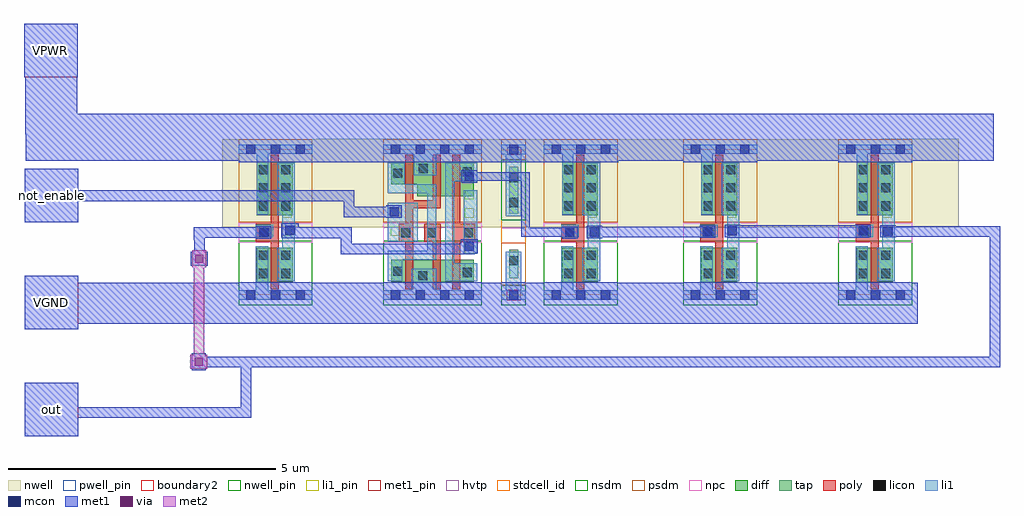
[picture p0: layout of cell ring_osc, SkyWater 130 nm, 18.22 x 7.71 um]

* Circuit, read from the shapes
.subckt ring_osc VGND VPWR not_enable out
XM1 sky130_fd_sc_hd__einvn_0_4/A out VGND VGND sky130_fd_pr__nfet_01v8 w=0.65 l=0.15
XM2 VGND not_enable n1 VGND sky130_fd_pr__nfet_01v8 w=0.42 l=0.15
XM3 n2 n1 VGND VGND sky130_fd_pr__nfet_01v8 w=0.42 l=0.15
XM4 sky130_fd_sc_hd__inv_1_3/A sky130_fd_sc_hd__einvn_0_4/A n2 VGND sky130_fd_pr__nfet_01v8 w=0.42 l=0.15
XM5 sky130_fd_sc_hd__inv_1_2/A sky130_fd_sc_hd__inv_1_3/A VGND VGND sky130_fd_pr__nfet_01v8 w=0.65 l=0.15
XM6 sky130_fd_sc_hd__inv_1_1/A sky130_fd_sc_hd__inv_1_2/A VGND VGND sky130_fd_pr__nfet_01v8 w=0.65 l=0.15
XM7 out sky130_fd_sc_hd__inv_1_1/A VGND VGND sky130_fd_pr__nfet_01v8 w=0.65 l=0.15
XM8 sky130_fd_sc_hd__einvn_0_4/A out VPWR VPWR sky130_fd_pr__pfet_01v8_hvt w=1 l=0.15
XM9 VPWR not_enable n1 VPWR sky130_fd_pr__pfet_01v8_hvt w=0.42 l=0.15
XM10 n3 not_enable VPWR VPWR sky130_fd_pr__pfet_01v8_hvt w=0.64 l=0.15
XM11 sky130_fd_sc_hd__inv_1_3/A sky130_fd_sc_hd__einvn_0_4/A n3 VPWR sky130_fd_pr__pfet_01v8_hvt w=0.64 l=0.15
XM12 sky130_fd_sc_hd__inv_1_2/A sky130_fd_sc_hd__inv_1_3/A VPWR VPWR sky130_fd_pr__pfet_01v8_hvt w=1 l=0.15
XM13 sky130_fd_sc_hd__inv_1_1/A sky130_fd_sc_hd__inv_1_2/A VPWR VPWR sky130_fd_pr__pfet_01v8_hvt w=1 l=0.15
XM14 out sky130_fd_sc_hd__inv_1_1/A VPWR VPWR sky130_fd_pr__pfet_01v8_hvt w=1 l=0.15
.ends

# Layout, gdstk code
import gdstk
lib = gdstk.Library(unit=1e-6, precision=1e-09)
def R(c, l, rs):  # rectangles x0, y0, x1, y1
    for r in rs: c.add(gdstk.rectangle(r[:2], r[2:], *l))
def A(c, l, x, y, w, h, nx, ny, dx, dy):  # array of equal rectangles
    R(c, l, [(x+i*dx, y+j*dy, x+i*dx+w, y+j*dy+h) for i in range(nx) for j in range(ny)])
def P(c, l, *ps):  # polygons
    for p in ps: c.add(gdstk.Polygon(p, *l))
nwell_pin = (64, 16)
nwell = (64, 20)
diff = (65, 20)
tap = (65, 44)
poly = (66, 20)
licon = (66, 44)
li1_pin = (67, 16)
li1 = (67, 20)
mcon = (67, 44)
met1_pin = (68, 16)
met1 = (68, 20)
via = (68, 44)
met2 = (69, 20)
hvtp = (78, 44)
stdcell_id = (81, 4)
nsdm = (93, 44)
psdm = (94, 20)
npc = (95, 20)
pwell_pin = (122, 16)
boundary2 = (236, 0)

sky130_fd_sc_hd__tapvpwr = lib.new_cell('sky130_fd_sc_hd__tapvpwrvgnd_1')
R(sky130_fd_sc_hd__tapvpwr, nwell, [(-0.19,1.305,0.65,2.91)])
R(sky130_fd_sc_hd__tapvpwr, tap, [(0.145,0.32,0.315,0.845), (0.145,1.525,0.315,2.4)])
R(sky130_fd_sc_hd__tapvpwr, licon, [(0.145,0.555,0.315,0.725), (0.145,1.645,0.315,1.815), (0.145,2.11,0.315,2.28)])
R(sky130_fd_sc_hd__tapvpwr, li1, [(0,-0.085,0.46,0.085), (0.085,0,0.375,0.81), (0.085,1.47,0.375,2.72), (0,2.635,0.46,2.805)])
R(sky130_fd_sc_hd__tapvpwr, mcon, [(0.145,-0.085,0.315,0.085), (0.145,2.635,0.315,2.805)])
R(sky130_fd_sc_hd__tapvpwr, met1_pin, [(0.105,-0.09,0.36,0.1), (0.11,2.62,0.375,2.765)])
R(sky130_fd_sc_hd__tapvpwr, met1, [(0,-0.24,0.46,0.24), (0,2.48,0.46,2.96)])
R(sky130_fd_sc_hd__tapvpwr, hvtp, [(0,1.25,0.46,2.72)])
R(sky130_fd_sc_hd__tapvpwr, stdcell_id, [(0,0,0.46,2.72)])
R(sky130_fd_sc_hd__tapvpwr, nsdm, [(0,-0.19,0.46,0.19), (0,1.395,0.46,2.53)])
R(sky130_fd_sc_hd__tapvpwr, psdm, [(0,0.19,0.46,0.975), (0,2.53,0.46,2.91)])
sky130_fd_sc_hd__tapvpwr.add(gdstk.Label('VPWR', (0.23,2.72), layer=68, texttype=5))
sky130_fd_sc_hd__tapvpwr.add(gdstk.Label('VGND', (0.23,0), layer=68, texttype=5))
sky130_fd_sc_hd__tapvpwr.add(gdstk.Label('tapvpwrvgnd_1', (0,0), layer=83, texttype=44))

sky130_fd_sc_hd__inv_1 = lib.new_cell('sky130_fd_sc_hd__inv_1')
R(sky130_fd_sc_hd__inv_1, nwell_pin, [(0.145,2.635,0.315,2.805), (0.145,2.635,0.315,2.805)])
R(sky130_fd_sc_hd__inv_1, nwell, [(-0.19,1.305,1.57,2.91)])
R(sky130_fd_sc_hd__inv_1, diff, [(0.34,0.235,1.01,0.885), (0.34,1.485,1.01,2.485)])
P(sky130_fd_sc_hd__inv_1, poly, [(0.75,2.615),(0.6,2.615),(0.6,1.325),(0.32,1.325),(0.32,0.995),(0.6,0.995),(0.6,0.105),(0.75,0.105)])
A(sky130_fd_sc_hd__inv_1, licon, 0.38, 1.575, 0.17, 0.17, 1, 3, 0, 0.34)
A(sky130_fd_sc_hd__inv_1, licon, 0.8, 1.575, 0.17, 0.17, 1, 3, 0, 0.34)
R(sky130_fd_sc_hd__inv_1, licon, [(0.38,0.315,0.55,0.485), (0.8,0.315,0.97,0.485), (0.38,0.655,0.55,0.825), (0.8,0.655,0.97,0.825), (0.4,1.075,0.57,1.245)])
R(sky130_fd_sc_hd__inv_1, li1_pin, [(0.36,1.105,0.53,1.275), (0.82,1.105,0.99,1.275), (0.82,1.445,0.99,1.615)])
R(sky130_fd_sc_hd__inv_1, li1, [(0,-0.085,1.38,0.085), (0.32,0.005,0.55,0.905), (0.32,1.075,0.65,1.315), (0.34,1.495,0.55,2.675), (0,2.635,1.38,2.805)])
P(sky130_fd_sc_hd__inv_1, li1, [(1.05,2.465),(0.72,2.465),(0.72,1.485),(0.82,1.485),(0.82,0.885),(0.72,0.885),(0.72,0.255),(1.05,0.255)])
A(sky130_fd_sc_hd__inv_1, mcon, 0.145, -0.085, 0.17, 0.17, 3, 2, 0.46, 2.72)
R(sky130_fd_sc_hd__inv_1, met1_pin, [(0.145,-0.085,0.315,0.085), (0.145,-0.085,0.315,0.085), (0.145,2.635,0.315,2.805), (0.145,2.635,0.315,2.805)])
R(sky130_fd_sc_hd__inv_1, hvtp, [(0,1.25,1.38,2.72)])
R(sky130_fd_sc_hd__inv_1, stdcell_id, [(0,0,1.38,2.72)])
R(sky130_fd_sc_hd__inv_1, nsdm, [(0,-0.19,1.38,1.015)])
R(sky130_fd_sc_hd__inv_1, psdm, [(0,1.355,1.38,2.91)])
R(sky130_fd_sc_hd__inv_1, npc, [(0,0.975,1.38,1.345)])
R(sky130_fd_sc_hd__inv_1, pwell_pin, [(0.145,-0.085,0.315,0.085), (0.145,-0.085,0.315,0.085)])
R(sky130_fd_sc_hd__inv_1, boundary2, [(0,0,1.38,2.72)])
sky130_fd_sc_hd__inv_1.add(gdstk.FlexPath([(0,2.72),(1.38,2.72)], 0.48, ends="flush", simple_path=True, layer=68, datatype=20))  # met1
sky130_fd_sc_hd__inv_1.add(gdstk.FlexPath([(0,0),(1.38,0)], 0.48, ends="flush", simple_path=True, layer=68, datatype=20))  # met1
sky130_fd_sc_hd__inv_1.add(gdstk.Label('Y', (0.905,1.53), layer=67, texttype=5))
sky130_fd_sc_hd__inv_1.add(gdstk.Label('Y', (0.905,1.19), layer=67, texttype=5))
sky130_fd_sc_hd__inv_1.add(gdstk.Label('A', (0.445,1.19), layer=67, texttype=5))
sky130_fd_sc_hd__inv_1.add(gdstk.Label('VPB', (0.23,2.72), layer=64, texttype=5))
sky130_fd_sc_hd__inv_1.add(gdstk.Label('VNB', (0.23,0), layer=64, texttype=59))
sky130_fd_sc_hd__inv_1.add(gdstk.Label('VGND', (0.23,0), layer=68, texttype=5))
sky130_fd_sc_hd__inv_1.add(gdstk.Label('VPWR', (0.23,2.72), layer=68, texttype=5))
sky130_fd_sc_hd__inv_1.add(gdstk.Label('inv_1', (0,0), layer=83, texttype=44))

sky130_fd_sc_hd__einvn_0 = lib.new_cell('sky130_fd_sc_hd__einvn_0')
R(sky130_fd_sc_hd__einvn_0, nwell_pin, [(0.145,2.635,0.315,2.805)])
R(sky130_fd_sc_hd__einvn_0, nwell, [(-0.19,1.305,2.03,2.91)])
R(sky130_fd_sc_hd__einvn_0, diff, [(0.15,0.235,1.695,0.655)])
P(sky130_fd_sc_hd__einvn_0, diff, [(1.695,2.485),(0.15,2.485),(0.15,2.065),(0.635,2.065),(0.635,1.845),(1.695,1.845)])
P(sky130_fd_sc_hd__einvn_0, poly, [(1.075,1.325),(0.77,1.325),(0.77,0.995),(0.925,0.995),(0.925,0.105),(1.075,0.105)],
  [(1.72,1.325),(1.435,1.325),(1.435,2.615),(1.285,2.615),(1.285,0.105),(1.435,0.105),(1.435,0.995),(1.72,0.995)],
  [(1.075,2.615),(0.925,2.615),(0.925,1.77),(0.56,1.77),(0.56,2.615),(0.41,2.615),(0.41,1.325),(0.29,1.325),(0.29,0.995),(0.41,0.995),(0.41,0.105),(0.56,0.105),(0.56,1.62),(1.075,1.62)])
R(sky130_fd_sc_hd__einvn_0, licon, [(0.655,0.275,0.825,0.445), (1.485,0.335,1.655,0.505), (0.19,0.36,0.36,0.53), (0.34,1.075,0.51,1.245), (0.82,1.075,0.99,1.245), (1.5,1.075,1.67,1.245), (0.19,2.19,0.36,2.36), (1.485,2.215,1.655,2.385), (0.66,2.275,0.83,2.445)])
A(sky130_fd_sc_hd__einvn_0, li1_pin, 1.525, 0.425, 0.17, 0.17, 1, 6, 0, 0.34)
R(sky130_fd_sc_hd__einvn_0, li1_pin, [(0.145,1.105,0.315,1.275), (0.145,1.445,0.315,1.615)])
R(sky130_fd_sc_hd__einvn_0, li1, [(1.5,0.765,1.755,1.955), (0.085,0.995,0.65,1.725)])
P(sky130_fd_sc_hd__einvn_0, li1, [(1.84,0.085),(0.99,0.085),(0.99,0.485),(0.53,0.485),(0.53,0.085),(0,0.085),(0,-0.085),(1.84,-0.085)],
  [(1.84,2.805),(0,2.805),(0,2.635),(0.57,2.635),(0.57,2.235),(0.99,2.235),(0.99,2.635),(1.84,2.635)],
  [(1.755,0.595),(1.33,0.595),(1.33,2.125),(1.755,2.125),(1.755,2.465),(1.16,2.465),(1.16,0.255),(1.755,0.255)],
  [(0.99,2.065),(0.4,2.065),(0.4,2.465),(0.085,2.465),(0.085,1.895),(0.82,1.895),(0.82,0.825),(0.085,0.825),(0.085,0.255),(0.36,0.255),(0.36,0.655),(0.99,0.655)])
A(sky130_fd_sc_hd__einvn_0, mcon, 0.145, -0.085, 0.17, 0.17, 4, 2, 0.46, 2.72)
R(sky130_fd_sc_hd__einvn_0, met1_pin, [(0.145,-0.085,0.315,0.085), (0.145,2.635,0.315,2.805)])
R(sky130_fd_sc_hd__einvn_0, hvtp, [(0,1.25,1.84,2.72)])
R(sky130_fd_sc_hd__einvn_0, stdcell_id, [(0,0,1.84,2.72)])
R(sky130_fd_sc_hd__einvn_0, nsdm, [(0,-0.19,1.84,1.015)])
R(sky130_fd_sc_hd__einvn_0, psdm, [(0,1.355,1.84,2.91)])
R(sky130_fd_sc_hd__einvn_0, npc, [(0,0.975,1.84,1.345)])
R(sky130_fd_sc_hd__einvn_0, pwell_pin, [(0.145,-0.085,0.315,0.085)])
R(sky130_fd_sc_hd__einvn_0, boundary2, [(0,0,1.84,2.72)])
sky130_fd_sc_hd__einvn_0.add(gdstk.FlexPath([(0,0),(1.84,0)], 0.48, ends="flush", simple_path=True, layer=68, datatype=20))  # met1
sky130_fd_sc_hd__einvn_0.add(gdstk.FlexPath([(0,2.72),(1.84,2.72)], 0.48, ends="flush", simple_path=True, layer=68, datatype=20))  # met1
sky130_fd_sc_hd__einvn_0.add(gdstk.Label('A', (1.61,1.87), layer=67, texttype=5))
sky130_fd_sc_hd__einvn_0.add(gdstk.Label('A', (1.61,1.53), layer=67, texttype=5))
sky130_fd_sc_hd__einvn_0.add(gdstk.Label('TE_B', (0.23,1.19), layer=67, texttype=5))
sky130_fd_sc_hd__einvn_0.add(gdstk.Label('TE_B', (0.23,1.53), layer=67, texttype=5))
sky130_fd_sc_hd__einvn_0.add(gdstk.Label('A', (1.61,1.19), layer=67, texttype=5))
sky130_fd_sc_hd__einvn_0.add(gdstk.Label('A', (1.61,0.85), layer=67, texttype=5))
sky130_fd_sc_hd__einvn_0.add(gdstk.Label('Z', (1.61,2.21), layer=67, texttype=5))
sky130_fd_sc_hd__einvn_0.add(gdstk.Label('Z', (1.61,0.51), layer=67, texttype=5))
sky130_fd_sc_hd__einvn_0.add(gdstk.Label('VPWR', (0.23,2.72), layer=68, texttype=5))
sky130_fd_sc_hd__einvn_0.add(gdstk.Label('VGND', (0.23,0), layer=68, texttype=5))
sky130_fd_sc_hd__einvn_0.add(gdstk.Label('VPB', (0.23,2.72), layer=64, texttype=5))
sky130_fd_sc_hd__einvn_0.add(gdstk.Label('VNB', (0.23,0), layer=64, texttype=59))
sky130_fd_sc_hd__einvn_0.add(gdstk.Label('einvn_0', (0,0), layer=83, texttype=44))

ring_osc = lib.new_cell('ring_osc')
R(ring_osc, nwell, [(3.69,-0.1,17.435,1.03), (3.69,1.03,15.355,1.545), (15.985,1.03,17.435,1.555), (5.445,1.545,7.175,1.555), (8.305,1.545,13.14,1.55), (13.845,1.545,15.155,1.55)])
R(ring_osc, li1, [(8.2,-0.55,8.4,-0.35), (10.09,-0.285,10.26,-0.115), (4.375,-0.28,4.545,-0.11), (10.55,-0.27,10.72,-0.1), (12.66,-0.265,12.83,-0.095), (16.03,-0.255,16.2,-0.085), (4.85,-0.25,5.05,-0.05), (13.125,-0.25,13.295,-0.08), (15.565,-0.25,15.735,-0.08), (6.81,0.11,6.98,0.28), (8.215,0.765,8.385,0.935)])
R(ring_osc, mcon, [(8.215,-0.535,8.385,-0.365), (10.09,-0.285,10.26,-0.115), (4.375,-0.28,4.545,-0.11), (10.55,-0.27,10.72,-0.1), (12.66,-0.265,12.83,-0.095), (16.03,-0.255,16.2,-0.085), (13.125,-0.25,13.295,-0.08), (15.565,-0.25,15.735,-0.08), (4.865,-0.235,5.035,-0.065), (6.81,0.11,6.98,0.28), (8.215,0.765,8.385,0.935)])
A(ring_osc, met1_pin, 0, -4, 1, 1, 1, 3, 0, 2)
R(ring_osc, met1_pin, [(-0.015,2.705,0.985,3.705)])
R(ring_osc, met1, [(0,-4,1,-3.655), (0,-3.655,4.23,-3.46), (0,-3.46,1,-3), (4.035,-3.46,4.23,-2.71), (3.12,-2.77,3.38,-2.71), (3.12,-2.71,18.205,-2.515), (3.12,-2.515,3.38,-2.45), (4.035,-2.515,4.23,-2.51), (18.01,-2.515,18.205,-0.27), (0,-2,1,-1.9), (0,-1.9,1.27,-1.895), (0,-1.895,16.67,-1.135), (0,-1.135,1.96,-1.13), (0,-1.13,1,-1), (3.095,-0.815,3.415,-0.555), (5.9,-0.6,8.4,-0.58), (5.9,-0.58,8.46,-0.4), (3.16,-0.555,3.355,-0.325), (5.9,-0.4,6.1,-0.3), (8.14,-0.4,8.46,-0.32), (3.15,-0.325,3.355,-0.29), (10.03,-0.315,10.32,-0.275), (4.315,-0.31,4.605,-0.29), (4.8,-0.3,6.1,-0.28), (10.49,-0.3,10.78,-0.28), (12.6,-0.295,12.89,-0.28), (3.15,-0.29,4.605,-0.095), (13.11,-0.29,15.76,-0.28), (15.97,-0.285,16.26,-0.27), (4.79,-0.28,6.1,-0.1), (10.49,-0.28,12.89,-0.085), (13.065,-0.28,15.795,-0.06), (9.265,-0.275,10.32,-0.11), (15.97,-0.27,18.205,-0.075), (9.265,-0.11,9.43,0.77), (10.03,-0.11,10.32,-0.085), (4.79,-0.1,5.11,-0.02), (4.315,-0.095,4.605,-0.08), (10.49,-0.085,10.78,-0.07), (12.6,-0.085,12.89,-0.065), (15.97,-0.075,16.26,-0.055), (13.065,-0.06,13.355,-0.05), (15.505,-0.06,15.795,-0.05), (0,0,1,0.39), (6.75,0.08,7.04,0.09), (5.95,0.09,7.04,0.29), (5.95,0.29,6.15,0.39), (6.75,0.29,7.04,0.31), (0,0.39,6.15,0.59), (0,0.59,1,1), (8.155,0.735,8.445,0.74), (8.15,0.74,8.445,0.77), (8.15,0.77,9.43,0.935), (8.15,0.935,8.45,0.95), (8.15,0.95,8.44,0.97), (8.445,1.115,11.075,1.145), (5.245,1.12,7.035,1.145), (0.02,1.145,18.09,1.64), (0.01,1.64,18.09,2.02), (0.01,2.02,0.975,2.705), (-0.015,2.705,0.985,3.705)])
R(ring_osc, via, [(3.175,-2.685,3.325,-2.535), (3.18,-0.76,3.33,-0.61)])
R(ring_osc, met2, [(3.09,-2.74,3.41,-2.48), (3.155,-2.48,3.35,-0.845), (3.125,-0.845,3.385,-0.525)])
ring_osc.add(gdstk.Reference(sky130_fd_sc_hd__tapvpwr, (8.895,-1.365)))
ring_osc.add(gdstk.Reference(sky130_fd_sc_hd__inv_1, (15.19,-1.36)))
ring_osc.add(gdstk.Reference(sky130_fd_sc_hd__inv_1, (12.29,-1.36)))
ring_osc.add(gdstk.Reference(sky130_fd_sc_hd__inv_1, (9.69,-1.36)))
ring_osc.add(gdstk.Reference(sky130_fd_sc_hd__einvn_0, (6.69,-1.36)))
ring_osc.add(gdstk.Reference(sky130_fd_sc_hd__inv_1, (3.99,-1.36)))
ring_osc.add(gdstk.Label('not_enable', (0.5,0.5), layer=68, texttype=5))
ring_osc.add(gdstk.Label('VGND', (0.5,-1.5), layer=68, texttype=5))
ring_osc.add(gdstk.Label('VPWR', (0.485,3.205), layer=68, texttype=5))
ring_osc.add(gdstk.Label('out', (0.5,-3.5), layer=68, texttype=5))

lib.write_gds('ring_osc.gds')
